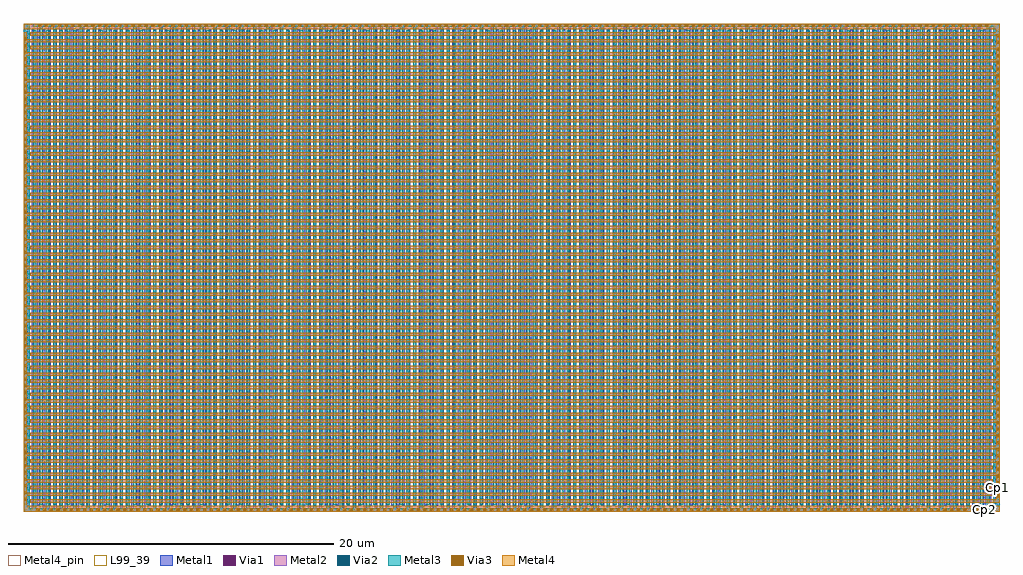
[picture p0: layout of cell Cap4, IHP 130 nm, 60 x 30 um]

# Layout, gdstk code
import gdstk
lib = gdstk.Library(unit=1e-6, precision=1e-09)
def R(c, l, rs):  # rectangles x0, y0, x1, y1
    for r in rs: c.add(gdstk.rectangle(r[:2], r[2:], *l))
def A(c, l, x, y, w, h, nx, ny, dx, dy):  # array of equal rectangles
    R(c, l, [(x+i*dx, y+j*dy, x+i*dx+w, y+j*dy+h) for i in range(nx) for j in range(ny)])
Metal1 = (8, 0)
Metal2 = (10, 0)
Via1 = (19, 0)
Via2 = (29, 0)
Metal3 = (30, 0)
Via3 = (49, 0)
Metal4 = (50, 0)
Metal4_pin = (50, 2)
L99_39 = (99, 39)

cap_mfringe = lib.new_cell('cap_mfringe')
A(cap_mfringe, Metal1, 0.51, 0, 0.16, 29.61, 87, 1, 0.68, 0)
A(cap_mfringe, Metal1, 0.85, 0.39, 0.16, 29.61, 87, 1, 0.68, 0)
R(cap_mfringe, Metal1, [(0,0,0.29,30), (0,0,59.49,0.21), (59.71,0,60,30), (0.51,29.79,60,30)])
A(cap_mfringe, Metal2, 0.42, 0.55, 59.58, 0.2, 1, 36, 0, 0.82)
A(cap_mfringe, Metal2, 0, 0.96, 59.58, 0.2, 1, 35, 0, 0.82)
R(cap_mfringe, Metal2, [(0,0,60,0.34), (0,0,0.205,29.45), (59.795,0.55,60,30), (0,29.66,60,30)])
A(cap_mfringe, Via1, 0.795, 0.01, 0.19, 0.19, 143, 1, 0.41, 0)
A(cap_mfringe, Via1, 0.01, 0.66, 0.19, 0.19, 1, 70, 0, 0.41)
A(cap_mfringe, Via1, 59.8, 0.86, 0.19, 0.19, 1, 70, 0, 0.41)
A(cap_mfringe, Via1, 0.895, 29.8, 0.19, 0.19, 143, 1, 0.41, 0)
A(cap_mfringe, Via2, 0.795, 0.005, 0.19, 0.19, 143, 1, 0.41, 0)
A(cap_mfringe, Via2, 0.005, 0.66, 0.19, 0.19, 1, 70, 0, 0.41)
A(cap_mfringe, Via2, 59.805, 0.86, 0.19, 0.19, 1, 70, 0, 0.41)
A(cap_mfringe, Via2, 0.895, 29.805, 0.19, 0.19, 143, 1, 0.41, 0)
A(cap_mfringe, Metal3, 0.585, 0, 0.2, 29.59, 72, 1, 0.82, 0)
A(cap_mfringe, Metal3, 0.995, 0.41, 0.2, 29.59, 72, 1, 0.82, 0)
R(cap_mfringe, Metal3, [(0,0,0.375,30), (0,0,59.415,0.2), (59.625,0,60,30), (0.585,29.8,60,30)])
A(cap_mfringe, Via3, 0.795, 0.005, 0.19, 0.19, 143, 1, 0.41, 0)
A(cap_mfringe, Via3, 0.005, 0.66, 0.19, 0.19, 1, 70, 0, 0.41)
A(cap_mfringe, Via3, 59.805, 0.86, 0.19, 0.19, 1, 70, 0, 0.41)
A(cap_mfringe, Via3, 0.895, 29.805, 0.19, 0.19, 143, 1, 0.41, 0)
A(cap_mfringe, Metal4, 0.41, 0.55, 59.59, 0.2, 1, 36, 0, 0.82)
A(cap_mfringe, Metal4, 0, 0.96, 59.59, 0.2, 1, 35, 0, 0.82)
R(cap_mfringe, Metal4, [(0,0,60,0.34), (0,0,0.2,29.45), (59.8,0.55,60,30), (0,29.66,60,30)])
R(cap_mfringe, Metal4_pin, [(0,14.9,0.2,15.1), (29.9,29.8,30.1,30)])
R(cap_mfringe, L99_39, [(0,0,60,30)])
cap_mfringe.add(gdstk.Label('cap_mfringe C=4176.000fF', (0,-0.5), layer=63, texttype=0))

cap4 = lib.new_cell('Cap4')
cap4.add(gdstk.FlexPath([(58.815,0.11),(59.255,0.11)], 0.2, ends="flush", simple_path=True, layer=50, datatype=2))  # Metal4_pin
cap4.add(gdstk.FlexPath([(59.9,1.87),(59.9,1.27)], 0.2, ends="flush", simple_path=True, layer=50, datatype=2))  # Metal4_pin
r = gdstk.Reference(cap_mfringe, (0,0)); r.repetition = gdstk.Repetition(1, 1, v1=(0,0), v2=(0,0)); cap4.add(r)
cap4.add(gdstk.Label('Cp1', (59.853,1.453), layer=50, texttype=25))
cap4.add(gdstk.Label('Cp2', (59.054,0.104), layer=50, texttype=25))

lib.write_gds('Cap4.gds')
